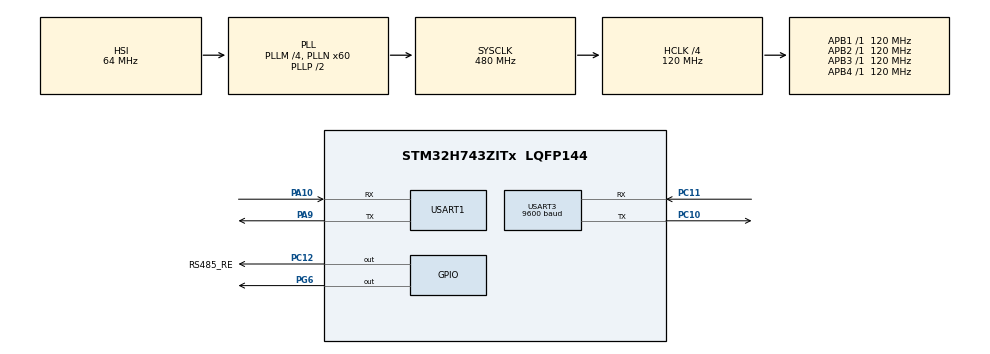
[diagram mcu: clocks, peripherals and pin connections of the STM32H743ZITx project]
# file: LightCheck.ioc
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CORTEX_M7.default_mode_Activation=1
Mcu.Family=STM32H7
Mcu.Name=STM32H743ZITx
Mcu.Package=LQFP144
NVIC.PriorityGroup=NVIC_PRIORITYGROUP_4
PA10.Mode=Asynchronous
PA10.Signal=USART1_RX
PA9.Mode=Asynchronous
PA9.Signal=USART1_TX
PC10.Mode=Asynchronous
PC10.Signal=USART3_TX
PC11.Mode=Asynchronous
PC11.Signal=USART3_RX
PC12.GPIO_DefaultOutputLevel=GPIO_PIN_RESET
PC12.GPIO_Label=RS485_RE
PC12.GPIO_ModeDefaultOutputPP=GPIO_MODE_OUTPUT_PP
PC12.GPIO_PuPd=GPIO_NOPULL
PC12.GPIO_Speed=GPIO_SPEED_FREQ_LOW
PC12.Signal=GPIO_Output
PG6.Signal=GPIO_Output
PH0-OSC_IN\ (PH0).Mode=HSE-External-Oscillator
PH0-OSC_IN\ (PH0).Signal=RCC_OSC_IN
PH1-OSC_OUT\ (PH1).Mode=HSE-External-Oscillator
PH1-OSC_OUT\ (PH1).Signal=RCC_OSC_OUT
ProjectManager.HeapSize=0x200
ProjectManager.StackSize=0x400
ProjectManager.TargetToolchain=CMake
RCC.ADCFreq_Value=129000000
RCC.APB1Freq_Value=120000000
RCC.APB2Freq_Value=120000000
RCC.APB3Freq_Value=120000000
RCC.APB4Freq_Value=120000000
RCC.CortexFreq_Value=480000000
RCC.DIVM1=4
RCC.DIVN1=60
RCC.HCLKFreq_Value=120000000
RCC.HPRE=RCC_HCLK_DIV4
RCC.PLL2FRACN=0
RCC.PLL3FRACN=0
RCC.PLLFRACN=0
RCC.SYSCLKFreq_VALUE=480000000
RCC.SYSCLKSource=RCC_SYSCLKSOURCE_PLLCLK
RCC.USBFreq_Value=480000000
USART1.VirtualMode-Asynchronous=VM_ASYNC
USART3.BaudRate=9600
USART3.StopBits=STOPBITS_2
USART3.VirtualMode-Asynchronous=VM_ASYNC
VP_MEMORYMAP_VS_MEMORYMAP.Mode=CurAppReg
board=custom

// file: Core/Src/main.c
/* USER CODE BEGIN Header */
/**
  ******************************************************************************
  * @file           : main.c
  * @brief          : Main program body
  ******************************************************************************
  * @attention
  *
  * Copyright (c) 2026 STMicroelectronics.
  * All rights reserved.
  *
  * This software is licensed under terms that can be found in the LICENSE file
  * in the root directory of this software component.
  * If no LICENSE file comes with this software, it is provided AS-IS.
  *
  ******************************************************************************
  */
/* USER CODE END Header */
#include "main.h"
#include "usart.h"
#include "gpio.h"

/* USER CODE BEGIN Includes */
#include "rs485.h"
#include "p100s.h"
#include "pc_protocol.h"
#include "pc_comm.h"
#include "command_manager.h"
#include "limit_debug.h"
#include "network_config.h"
#if PC_USE_ETHERNET
#include "network.h"
#endif

/* USER CODE END Includes */

/* USER CODE BEGIN PD */
/* 按原理图确认 PC12 高电平发送、低电平接收。 */
#define P100S_RS485_TX_LEVEL GPIO_PIN_SET
/* Temporary ASCII diagnostics on the PC UART; set to 0 for normal binary use. */
#define LIMIT_SERIAL_DEBUG 0

/* USER CODE END PD */

/* USER CODE BEGIN PV */
static rs485_handle_t servo_port;
static modbus_handle_t servo_bus;
static p100s_handle_t servo_motors[2];
static pc_protocol_t pc_protocol;
static command_manager_t command_manager;
static volatile uint8_t limits_ready;

/* USER CODE END PV */

void SystemClock_Config(void);
static void MPU_Config(void);

int main(void)
{

  /* MPU Configuration--------------------------------------------------------*/
  MPU_Config();

  /* MCU Configuration--------------------------------------------------------*/

  /* Reset of all peripherals, Initializes the Flash interface and the Systick. */
  HAL_Init();

  /* Configure the system clock */
  SystemClock_Config();

  /* Initialize all configured peripherals */
  MX_GPIO_Init();
  MX_USART3_UART_Init();
#if !PC_USE_ETHERNET
  MX_USART1_UART_Init();
#endif
  /* USER CODE BEGIN 2 */
  if (rs485_init(&servo_port, &huart3, RS485_RE_GPIO_Port, RS485_RE_Pin,
                 P100S_RS485_TX_LEVEL) != MODBUS_OK ||
      modbus_init(&servo_bus, &servo_port, rs485_exchange, 100U) != MODBUS_OK ||
      p100s_init(&servo_motors[0], &servo_bus, 1U) != MODBUS_OK ||
      p100s_init(&servo_motors[1], &servo_bus, 2U) != MODBUS_OK) {
    Error_Handler();
  }
  Command_Manager_Init(&command_manager, &servo_motors[0], &servo_motors[1], &huart1);
  PC_Protocol_Init(&pc_protocol, Command_Process, &command_manager);
#if PC_USE_ETHERNET
  if (Network_Init(&pc_protocol, &command_manager) != HAL_OK) {
    Error_Handler();
  }
#else
  if (PC_Comm_Init(&huart1, &pc_protocol) != HAL_OK) {
    Error_Handler();
  }
#endif
#if MOTOR_LIMITS_ENABLED && LIMIT_SERIAL_DEBUG
  LimitDebug_Init(&huart1);
#endif
  limits_ready = 1U;

  /* USER CODE END 2 */

  /* Infinite loop */
  while (1)
  {

    /* USER CODE BEGIN 3 */
    PC_Comm_Task();
    Command_Manager_Task(&command_manager);
#if MOTOR_LIMITS_ENABLED && LIMIT_SERIAL_DEBUG
    LimitDebug_Task();
#endif
  }
  /* USER CODE END 3 */
}

void SystemClock_Config(void)
{
  RCC_OscInitTypeDef RCC_OscInitStruct = {0};
  RCC_ClkInitTypeDef RCC_ClkInitStruct = {0};

  /** Supply configuration update enable
  */
  HAL_PWREx_ConfigSupply(PWR_LDO_SUPPLY);

  /** Configure the main internal regulator output voltage
  */
  __HAL_PWR_VOLTAGESCALING_CONFIG(PWR_REGULATOR_VOLTAGE_SCALE0);

  while(!__HAL_PWR_GET_FLAG(PWR_FLAG_VOSRDY)) {}

  /** Initializes the RCC Oscillators according to the specified parameters
  * in the RCC_OscInitTypeDef structure.
  */
  RCC_OscInitStruct.OscillatorType = RCC_OSCILLATORTYPE_HSI;
  RCC_OscInitStruct.HSIState = RCC_HSI_DIV1;
  RCC_OscInitStruct.HSICalibrationValue = RCC_HSICALIBRATION_DEFAULT;
  RCC_OscInitStruct.PLL.PLLState = RCC_PLL_ON;
  RCC_OscInitStruct.PLL.PLLSource = RCC_PLLSOURCE_HSI;
  RCC_OscInitStruct.PLL.PLLM = 4;
  RCC_OscInitStruct.PLL.PLLN = 60;
  RCC_OscInitStruct.PLL.PLLP = 2;
  RCC_OscInitStruct.PLL.PLLQ = 2;
  RCC_OscInitStruct.PLL.PLLR = 2;
  RCC_OscInitStruct.PLL.PLLRGE = RCC_PLL1VCIRANGE_3;
  RCC_OscInitStruct.PLL.PLLVCOSEL = RCC_PLL1VCOWIDE;
  RCC_OscInitStruct.PLL.PLLFRACN = 0;
  if (HAL_RCC_OscConfig(&RCC_OscInitStruct) != HAL_OK)
  {
    Error_Handler();
  }

  /** Initializes the CPU, AHB and APB buses clocks
  */
  RCC_ClkInitStruct.ClockType = RCC_CLOCKTYPE_HCLK|RCC_CLOCKTYPE_SYSCLK
                              |RCC_CLOCKTYPE_PCLK1|RCC_CLOCKTYPE_PCLK2
                              |RCC_CLOCKTYPE_D3PCLK1|RCC_CLOCKTYPE_D1PCLK1;
  RCC_ClkInitStruct.SYSCLKSource = RCC_SYSCLKSOURCE_PLLCLK;
  RCC_ClkInitStruct.SYSCLKDivider = RCC_SYSCLK_DIV1;
  RCC_ClkInitStruct.AHBCLKDivider = RCC_HCLK_DIV4;
  RCC_ClkInitStruct.APB3CLKDivider = RCC_APB3_DIV1;
  RCC_ClkInitStruct.APB1CLKDivider = RCC_APB1_DIV1;
  RCC_ClkInitStruct.APB2CLKDivider = RCC_APB2_DIV1;
  RCC_ClkInitStruct.APB4CLKDivider = RCC_APB4_DIV1;

  if (HAL_RCC_ClockConfig(&RCC_ClkInitStruct, FLASH_LATENCY_1) != HAL_OK)
  {
    Error_Handler();
  }
}

/* USER CODE BEGIN 4 */
void Motor_Limits_Tick(void)
{
  if (limits_ready != 0U) {
    uint8_t raw=0;
    for (unsigned ch=0;ch<6;++ch)
      if (HAL_GPIO_ReadPin(GPIOF,(uint16_t)(GPIO_PIN_5>>ch))==GPIO_PIN_SET) raw|=(uint8_t)(1U<<ch);
    Command_Manager_SampleInputs(&command_manager,raw);
#if MOTOR_LIMITS_ENABLED
    uint8_t raw1 = (uint8_t)(HAL_GPIO_ReadPin(MOTOR_LIMIT_GPIO_Port, MOTOR1_LIMIT_Pin) == GPIO_PIN_SET);
    uint8_t raw2 = (uint8_t)(HAL_GPIO_ReadPin(MOTOR_LIMIT_GPIO_Port, MOTOR2_LIMIT_Pin) == GPIO_PIN_SET);
    Command_Manager_SampleLimits(&command_manager, raw1, raw2);
#if LIMIT_SERIAL_DEBUG
    LimitDebug_Sample(0U, raw1, &command_manager.limits[0]);
    LimitDebug_Sample(1U, raw2, &command_manager.limits[1]);
#endif
#endif
  }
}

void HAL_UARTEx_RxEventCallback(UART_HandleTypeDef *huart, uint16_t Size)
{
  PC_Comm_RxEvent(huart, Size);
}

void HAL_UART_ErrorCallback(UART_HandleTypeDef *huart)
{
  PC_Comm_Error(huart);
}

/* USER CODE END 4 */

 /* MPU Configuration */

void MPU_Config(void)
{
  MPU_Region_InitTypeDef MPU_InitStruct = {0};

  /* Disables the MPU */
  HAL_MPU_Disable();

  /** Initializes and configures the Region and the memory to be protected
  */
  MPU_InitStruct.Enable = MPU_REGION_ENABLE;
  MPU_InitStruct.Number = MPU_REGION_NUMBER0;
  MPU_InitStruct.BaseAddress = 0x0;
  MPU_InitStruct.Size = MPU_REGION_SIZE_4GB;
  MPU_InitStruct.SubRegionDisable = 0x87;
  MPU_InitStruct.TypeExtField = MPU_TEX_LEVEL0;
  MPU_InitStruct.AccessPermission = MPU_REGION_NO_ACCESS;
  MPU_InitStruct.DisableExec = MPU_INSTRUCTION_ACCESS_DISABLE;
  MPU_InitStruct.IsShareable = MPU_ACCESS_SHAREABLE;
  MPU_InitStruct.IsCacheable = MPU_ACCESS_NOT_CACHEABLE;
  MPU_InitStruct.IsBufferable = MPU_ACCESS_NOT_BUFFERABLE;

  HAL_MPU_ConfigRegion(&MPU_InitStruct);
  /* DMA descriptors and Ethernet payloads: normal, non-cacheable D2 SRAM. */
  MPU_InitStruct.Number = MPU_REGION_NUMBER1;
  MPU_InitStruct.BaseAddress = 0x30000000;
  MPU_InitStruct.Size = MPU_REGION_SIZE_256KB;
  MPU_InitStruct.SubRegionDisable = 0;
  MPU_InitStruct.TypeExtField = MPU_TEX_LEVEL1;
  MPU_InitStruct.AccessPermission = MPU_REGION_FULL_ACCESS;
  MPU_InitStruct.DisableExec = MPU_INSTRUCTION_ACCESS_DISABLE;
  MPU_InitStruct.IsShareable = MPU_ACCESS_SHAREABLE;
  MPU_InitStruct.IsCacheable = MPU_ACCESS_NOT_CACHEABLE;
  MPU_InitStruct.IsBufferable = MPU_ACCESS_NOT_BUFFERABLE;
  HAL_MPU_ConfigRegion(&MPU_InitStruct);
  /* Enables the MPU */
  HAL_MPU_Enable(MPU_PRIVILEGED_DEFAULT);

}

void Error_Handler(void)
{
  __disable_irq();
  while (1)
  {
  }
}
